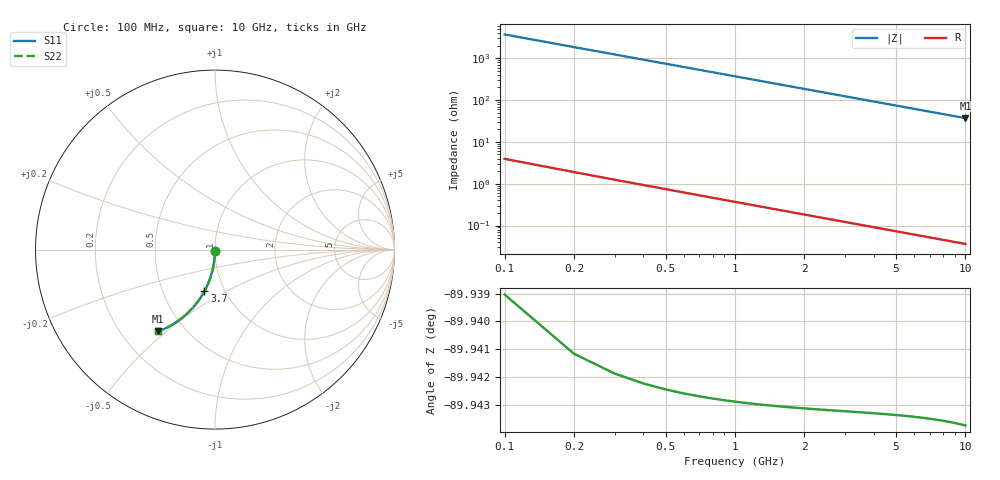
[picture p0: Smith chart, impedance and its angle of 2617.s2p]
# Hz S RI R 50.00
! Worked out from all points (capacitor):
!   100 points, 100 MHz to 10 GHz, reference 50 ohm
!   read as one part in shunt: C = 430 fF near 100 MHz
!   lowest |Z| = 37.1 ohm at 10 GHz (marker M1)
!   S11 on the Smith chart (normalised r, x): 100 MHz: 1.00, -0.01; 3.7 GHz: 0.80, -0.40; 10 GHz: 0.36, -0.47
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1e8  -3.67e-05 -0.00668  0.9999 -0.00685  0.9999 -0.00685  -3.67e-05 -0.00668
2e8  -0.00018 -0.0134  0.9998 -0.0137  0.9998 -0.0137  -0.00018 -0.0134
3e8  -0.000415 -0.02  0.9996 -0.0205  0.9996 -0.0205  -0.000415 -0.02
4e8  -0.000742 -0.0267  0.9992 -0.0274  0.9992 -0.0274  -0.000742 -0.0267
5e8  -0.00116 -0.0333  0.9988 -0.0342  0.9988 -0.0342  -0.00116 -0.0333
6e8  -0.00167 -0.04  0.9983 -0.041  0.9983 -0.041  -0.00167 -0.04
7e8  -0.00227 -0.0466  0.9977 -0.0478  0.9977 -0.0478  -0.00227 -0.0466
8e8  -0.00296 -0.0533  0.997 -0.0546  0.997 -0.0546  -0.00296 -0.0533
9e8  -0.00373 -0.0599  0.9962 -0.0614  0.9962 -0.0614  -0.00373 -0.0599
1.1e9  -0.00556 -0.0731  0.9944 -0.0749  0.9944 -0.0749  -0.00556 -0.0731
1.4e9  -0.00896 -0.0927  0.991 -0.095  0.991 -0.095  -0.00896 -0.0927
1.8e9  -0.0147 -0.1185  0.9852 -0.1215  0.9852 -0.1215  -0.0147 -0.1185
2.1e9  -0.0199 -0.1375  0.98 -0.1411  0.98 -0.1411  -0.0199 -0.1375
2.5e9  -0.028 -0.1623  0.972 -0.1666  0.972 -0.1666  -0.028 -0.1623
2.9e9  -0.0373 -0.1865  0.9627 -0.1915  0.9627 -0.1915  -0.0373 -0.1865
3.4e9  -0.0505 -0.2157  0.9494 -0.2215  0.9494 -0.2215  -0.0505 -0.2157
3.7e9  -0.0593 -0.2325  0.9407 -0.2389  0.9407 -0.2389  -0.0593 -0.2325
4.4e9  -0.0818 -0.2699  0.9181 -0.2775  0.9181 -0.2775  -0.0818 -0.2699
5.1e9  -0.107 -0.3042  0.893 -0.313  0.893 -0.313  -0.107 -0.3042
6.7e9  -0.1714 -0.3705  0.8285 -0.3822  0.8285 -0.3822  -0.1714 -0.3705
8.4e9  -0.2454 -0.4225  0.7545 -0.4373  0.7545 -0.4373  -0.2454 -0.4225
1e10  -0.3155 -0.4554  0.6843 -0.4731  0.6843 -0.4731  -0.3155 -0.4554
